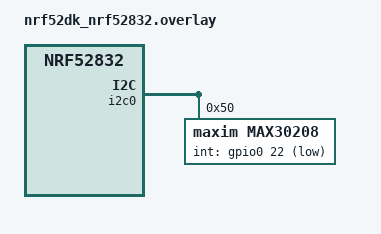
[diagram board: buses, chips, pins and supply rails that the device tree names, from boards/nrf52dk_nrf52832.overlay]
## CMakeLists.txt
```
# SPDX-License-Identifier: Apache-2.0

cmake_minimum_required(VERSION 3.20.0)
find_package(Zephyr REQUIRED HINTS $ENV{ZEPHYR_BASE})
project(max30208)

FILE(GLOB app_sources src/*.c)
target_sources(app PRIVATE ${app_sources})
```

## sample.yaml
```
sample:
  description: Demonstration of the MAX30208 sensor driver
  name: MAX30208 sample
tests:
  sample.sensor.max30208:
    harness: sensor
    tags: sensors
    depends_on: i2c
    filter: dt_compat_enabled("maxim,max30208")
```

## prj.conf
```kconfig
CONFIG_STDOUT_CONSOLE=y
CONFIG_LOG=y
CONFIG_GPIO=y
CONFIG_I2C=y
CONFIG_SENSOR=y
CONFIG_SENSOR_LOG_LEVEL_DBG=y

CONFIG_MAX30208=y
CONFIG_MAX30208_RINGBUFFER_SIZE=32
#CONFIG_MAX30208_TRIGGER_OWN_THREAD=y
#CONFIG_MAX30208_TRIGGER_GLOBAL_THREAD=y
```

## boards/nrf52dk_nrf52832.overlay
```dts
/*
 * Copyright (c) 2021, Silvano Cortesi
 * Copyright (c) 2021, ETH Zürich
 *
 * SPDX-License-Identifier: Apache-2.0
 */

&i2c0 {
	max30208@50 {
		compatible = "maxim,max30208";
		reg = <0x50>;
		label = "MAX30208";
		int-gpios = <&gpio0 22 (GPIO_PULL_UP | GPIO_ACTIVE_LOW)>;
		fifo-a-full = <2>;
		gpio0-mode = <3>;
		status = "okay";
	};
};
```

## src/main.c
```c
/*
 * Copyright (c) 2021, Silvano Cortesi
 * Copyright (c) 2021, ETH Zürich
 *
 * SPDX-License-Identifier: Apache-2.0
 */

#include <drivers/sensor/max30208.h>
#include <drivers/sensor.h>
#include <stdio.h>
#include <zephyr.h>

static struct sensor_value temperature;

#ifdef CONFIG_MAX30208_TRIGGER
static void trigger_handler_drdy(const struct device *dev, struct sensor_trigger *trig)
{
	if (max30208_readout_sample(dev) < 0) {
		printf("Can't readout a new sensor value\n");
		return;
	}

	if (sensor_channel_get(dev, SENSOR_CHAN_AMBIENT_TEMP, &temperature) < 0) {
		printf("Can't get a new sensor value\n");
		return;
	}
	/* Print temperature data*/
	printf("INTERRUPT-TEMP=%d.%03d\r\n", temperature.val1, temperature.val2 / 1000);
}
#endif

void main(void)
{
	const struct device *dev = DEVICE_DT_GET_ANY(maxim_max30208);

	if (dev == NULL) {
		printf("Could not get MAX30208 device\r\n");
		return;
	}

	if (!device_is_ready(dev)) {
		printf("MAX30208 device %s is not ready\r\n", dev->name);
		return;
	}

#ifdef CONFIG_MAX30208_TRIGGER
	struct sensor_trigger trig;

	trig.type = SENSOR_TRIG_DATA_READY;
	sensor_trigger_set(dev, &trig, trigger_handler_drdy);
#endif

	while (1) {
		k_sleep(K_MSEC(1000));

		if (sensor_sample_fetch(dev) < 0) {
			printf("Can't readout a new sensor value\n");
			continue;
		}

#ifndef CONFIG_MAX30208_TRIGGER
		if (sensor_channel_get(dev, SENSOR_CHAN_AMBIENT_TEMP, &temperature) < 0) {
			printf("Can't get a new sensor value\n");
			continue;
		}
		/* Print temperature data*/
		printf("POLLED-TEMP=%d.%d\r\n", temperature.val1, temperature.val2 / 1000);
#endif
	}
}
```
